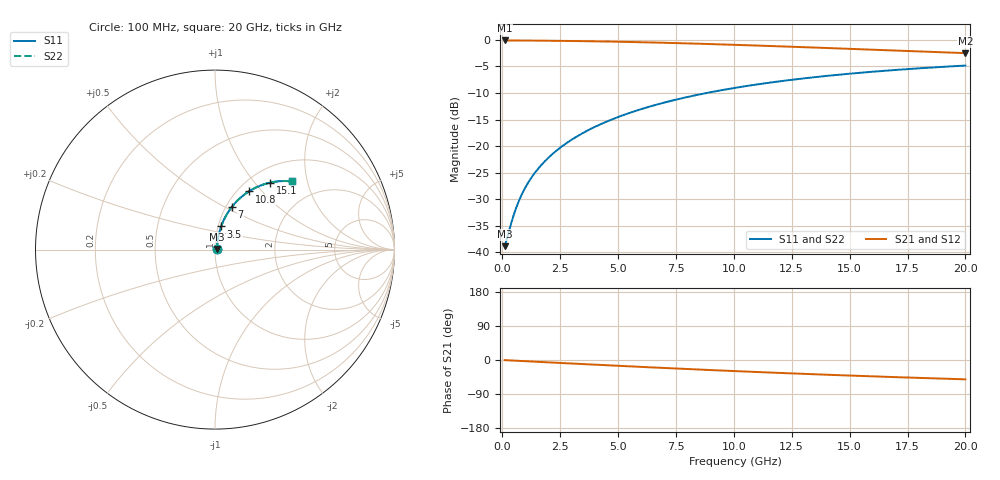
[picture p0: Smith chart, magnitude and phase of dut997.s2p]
! Touchstone file exported from HFSS 2024.1.0
!  File:  C:/UserFiles/LocalFiles/RDL_TSV_Batchsim/temp_RDL_bottom_997_1779944152.aedt
!  Generated:  12:58:19 PM May 28, 2026
!  Design:  RDL_bottom
!  Project:  temp_RDL_bottom_997_1779944152
!  Setup:  Setup1
!  Solution:  Sweep
! Variables:
!  dtsv = 10.80580581um
!  hbump = 3um
!  htsv = 78.09um
!  ldown = 646.22um
!  lrdl = 100um
!  p = 40
!  p1 = 49.03um
!  rhole = 1um
!  t = 450um
!  tdown = 2.1um
!  trdl = 3.915915916um
!  wdown = 10.14um
!  wrdl = 20um
# GHz S MA R 50.000000
! Terminal data exported
! Port[1] = RDL1_T1
! Port[2] = RDL1_T2
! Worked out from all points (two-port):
!   200 points, 100 MHz to 20 GHz, reference 50 ohm
!   highest |S21| = -0.09 dB at 100 MHz (marker M1); lowest = -2.5 dB at 20 GHz (marker M2)
!   |S21| within 3 dB of the highest: start of sweep to end of sweep
!   lowest |S11| = -38.9 dB at 100 MHz (marker M3), VSWR 1.02, Z = 51.1 + j0.402 ohm
!   |S11| at or under -10 dB: start of sweep to 8.818 GHz
!   |S22| runs from -38.9 to -4.8 dB; largest |S21 - S12| = 4.7e-15
!   S11 on the Smith chart (normalised r, x): 100 MHz: 1.02, +0.01; 3.5 GHz: 1.03, +0.27; 7 GHz: 1.07, +0.55; 10.8 GHz: 1.13, +0.85; 15.1 GHz: 1.24, +1.20; 20 GHz: 1.43, +1.62
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0.1  0.01139 20.2  0.9893 -0.3  0.9893 -0.3  0.01139 20.2
! Gamma 0 0 0 0
! Port Impedance 50 0 50 0
0.2  0.01335 36.1  0.9892 -0.6  0.9892 -0.6  0.01335 36.1
0.4  0.01924 54.6  0.989 -1.3  0.989 -1.3  0.01924 54.6
0.5  0.02264 59.7  0.9888 -1.6  0.9888 -1.6  0.02264 59.7
0.7  0.02979 66.1  0.9883 -2.2  0.9883 -2.2  0.02979 66.1
1  0.04083 70.9  0.9874 -3.2  0.9874 -3.2  0.04083 70.9
1.3  0.05196 73.3  0.9864 -4.1  0.9864 -4.1  0.05196 73.3
1.7  0.06682 75.0  0.9849 -5.3  0.9849 -5.3  0.06682 75.0
2.2  0.08539 75.7  0.9826 -6.9  0.9826 -6.9  0.08539 75.7
2.8  0.1076 75.7  0.9794 -8.7  0.9794 -8.7  0.1076 75.7
3.5  0.1334 75.1  0.9749 -10.8  0.9749 -10.8  0.1334 75.1
4.2  0.159 74.1  0.9695 -12.9  0.9695 -12.9  0.159 74.1
5  0.1878 72.6  0.9624 -15.3  0.9624 -15.3  0.1878 72.6
6.8  0.2505 68.8  0.9432 -20.5  0.9432 -20.5  0.2504 68.8
7  0.2572 68.4  0.9408 -21.1  0.9408 -21.1  0.2572 68.4
8.5  0.3062 65.0  0.9216 -25.2  0.9216 -25.2  0.3062 65.0
10.1  0.3551 61.3  0.8992 -29.4  0.8992 -29.4  0.3551 61.3
10.8  0.3753 59.8  0.8889 -31.2  0.8889 -31.2  0.3753 59.8
13.4  0.4438 54.1  0.8494 -37.5  0.8494 -37.5  0.4437 54.1
15.1  0.4831 50.6  0.8233 -41.3  0.8233 -41.3  0.4829 50.6
16.7  0.5162 47.4  0.7991 -44.6  0.7991 -44.6  0.516 47.4
20  0.5738 41.4  0.7516 -51.0  0.7516 -51.0  0.5736 41.4
